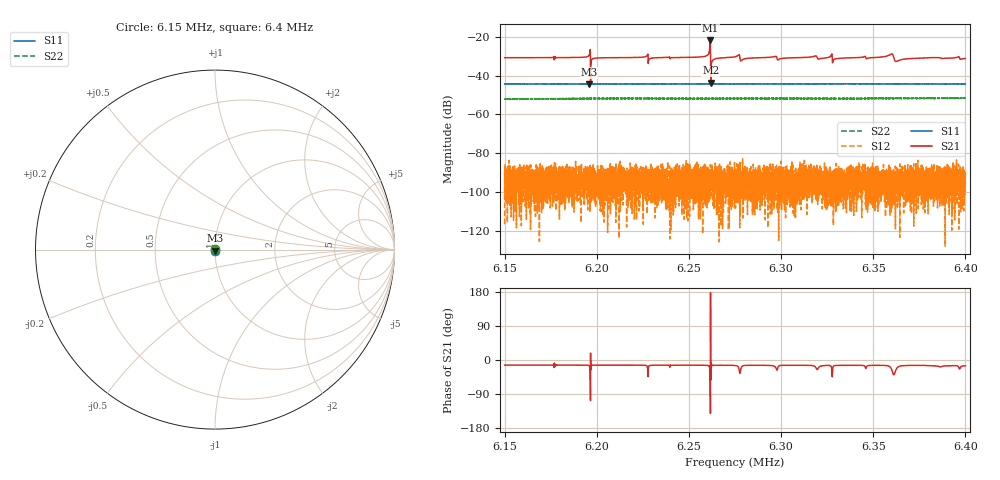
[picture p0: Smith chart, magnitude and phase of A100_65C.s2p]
!CETC41,AV3656A,ZGL00048,1.3.2
!Calibration ON (Full Solt 2-Port(Omit Isolation))
!Measurements: S11 S21 S12 S22
!2025-07-09 22:43
# Hz  S  dB  R 50.000
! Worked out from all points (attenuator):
!   6401 points, 6.15 MHz to 6.4 MHz, reference 50 ohm
!   highest |S21| = -21.95 dB at 6.2616 MHz (marker M1); lowest = -43.8 dB at 6.2619 MHz (marker M2)
!   lowest |S11| = -44.4 dB at 6.1957 MHz (marker M3), VSWR 1.01, Z = 50 - j0.6 ohm
!   |S11| at or under -10 dB: start of sweep to end of sweep
!   |S22| runs from -52.3 to -51.5 dB; largest |S21 - S12| = 0.08
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6150000  -44.32 -91.1  -30.81 -13.5  -116.52 -61.2  -52.03 70.9
6191680  -44.34 -91.2  -30.63 -13.6  -91.84 -130.0  -51.97 71.3
6195742  -44.44 -91.2  -29.70 -14.3  -94.03 -168.0  -51.82 72.1
6197813  -44.33 -91.1  -31.39 -13.8  -101.25 164.0  -51.84 72.9
6233359  -44.33 -91.0  -30.84 -13.7  -86.11 14.2  -51.94 73.0
6257031  -44.30 -91.0  -30.36 -13.8  -104.69 128.3  -51.87 72.3
6260469  -44.31 -90.8  -29.16 -14.4  -90.13 82.5  -51.86 72.6
6261563  -44.31 -91.2  -21.95 -70.5  -90.83 -71.6  -51.84 73.4
6261875  -44.33 -90.9  -43.75 -41.6  -88.66 167.6  -51.85 72.2
6263008  -44.30 -90.7  -32.03 -14.0  -100.87 -9.6  -51.86 72.5
6265000  -44.31 -91.0  -31.22 -13.9  -97.94 -6.2  -51.73 71.9
6275000  -44.36 -90.9  -30.35 -14.2  -92.28 35.1  -51.86 72.1
6278984  -44.33 -91.2  -31.88 -16.0  -90.28 172.5  -51.82 71.8
6316680  -44.29 -90.7  -30.40 -14.5  -99.16 35.1  -51.82 72.3
6321055  -44.31 -90.6  -31.36 -16.8  -86.53 120.5  -51.84 71.2
6326484  -44.33 -90.4  -30.38 -14.6  -95.42 93.2  -51.89 71.9
6329023  -44.27 -90.7  -31.57 -14.8  -96.05 -157.7  -51.82 72.7
6358359  -44.31 -90.5  -29.67 -16.0  -106.54 -32.2  -51.87 73.6
6359961  -44.28 -90.7  -28.85 -24.7  -92.43 -111.0  -51.77 72.3
6362813  -44.33 -90.3  -32.65 -21.5  -100.11 -127.1  -51.68 72.9
6381719  -44.30 -90.6  -30.78 -15.0  -88.97 134.5  -51.67 73.0
6400000  -44.38 -90.6  -31.24 -15.3  -95.92 -44.8  -51.57 72.9
